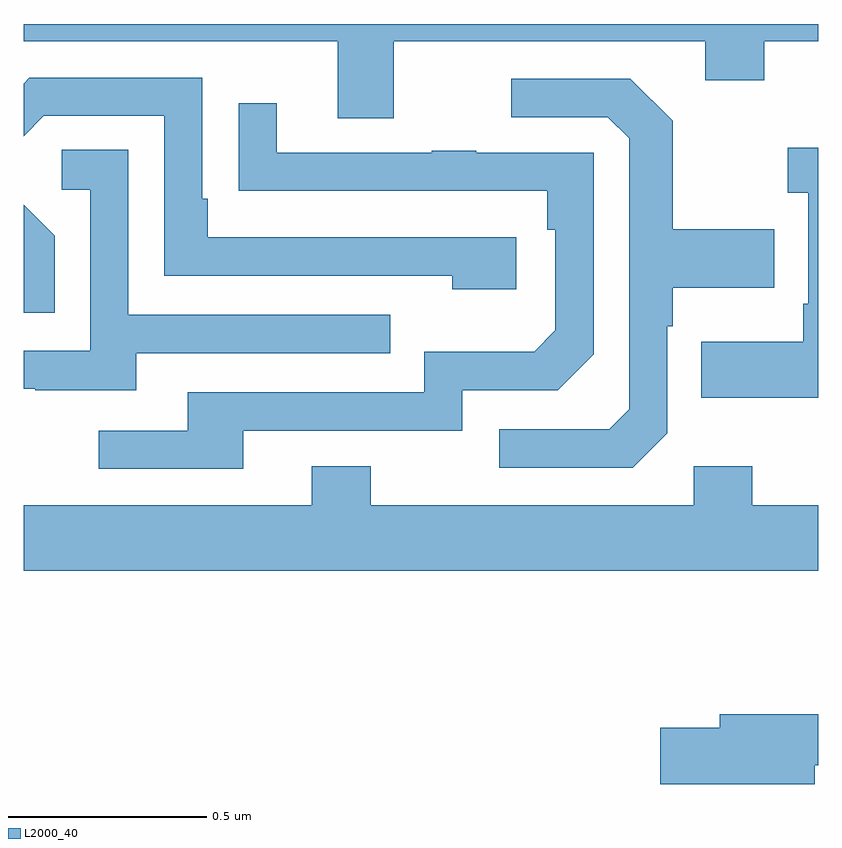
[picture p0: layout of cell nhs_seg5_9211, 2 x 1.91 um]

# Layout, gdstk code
import gdstk
lib = gdstk.Library(unit=1e-6, precision=1e-09)
def P(c, l, *ps):  # polygons
    for p in ps: c.add(gdstk.Polygon(p, *l))
L2000_40 = (2000, 40)

nhs_seg5_9211 = lib.new_cell('nhs_seg5_9211')
P(nhs_seg5_9211, L2000_40, [(231.931,860.756),(232.715,860.756),(232.715,860.657),(232.863,860.657),(232.863,860.756),(233,860.756),(233,860.799),(231,860.799),(231,860.756),(231.791,860.756),(231.791,860.562),(231.931,860.562)],
  [(232.24,860.262),(231.463,860.262),(231.463,860.359),(231.45,860.359),(231.45,860.664),(231.015,860.664),(231,860.649),(231,860.517),(231.051,860.568),(231.354,860.568),(231.354,860.166),(232.079,860.166),(232.079,860.132),(232.24,860.132)],
  [(232.62,859.77),(232.62,860.039),(232.633,860.039),(232.633,860.135),(232.889,860.135),(232.889,860.283),(232.633,860.283),(232.633,860.555),(232.527,860.661),(232.227,860.661),(232.227,860.565),(232.47,860.565),(232.524,860.511),(232.524,859.83),(232.473,859.779),(232.197,859.779),(232.197,859.683),(232.533,859.683)],
  [(231.553,859.776),(232.104,859.776),(232.104,859.878),(232.344,859.878),(232.434,859.968),(232.434,860.475),(232.139,860.475),(232.139,860.48),(232.027,860.48),(232.027,860.475),(231.637,860.475),(231.637,860.599),(231.541,860.599),(231.541,860.38),(231.643,860.38),(231.643,860.379),(232.318,860.379),(232.318,860.282),(232.338,860.282),(232.338,860.028),(232.285,859.975),(232.008,859.975),(232.008,859.872),(231.413,859.872),(231.413,859.776),(231.189,859.776),(231.189,859.68),(231.553,859.68)],
  [(233,860.488),(232.923,860.488),(232.923,860.375),(232.974,860.375),(232.974,860.095),(232.962,860.095),(232.962,859.999),(232.705,859.999),(232.705,859.859),(233,859.859)],
  [(231.283,859.971),(231.923,859.971),(231.923,860.067),(231.264,860.067),(231.264,860.483),(231.096,860.483),(231.096,860.382),(231.168,860.382),(231.168,859.977),(231,859.977),(231,859.881),(231.029,859.881),(231.029,859.877),(231.283,859.877)],
  [(231.078,860.266),(231,860.344),(231,860.073),(231.078,860.073)],
  [(233,859.588),(232.833,859.588),(232.833,859.687),(232.686,859.687),(232.686,859.588),(231.873,859.588),(231.873,859.687),(231.725,859.687),(231.725,859.588),(231,859.588),(231,859.424),(233,859.424)],
  [(232.99,858.934),(233,858.934),(233,859.063),(232.751,859.063),(232.751,859.029),(232.602,859.029),(232.602,858.887),(232.99,858.887)])

lib.write_gds('nhs_seg5_9211.gds')
